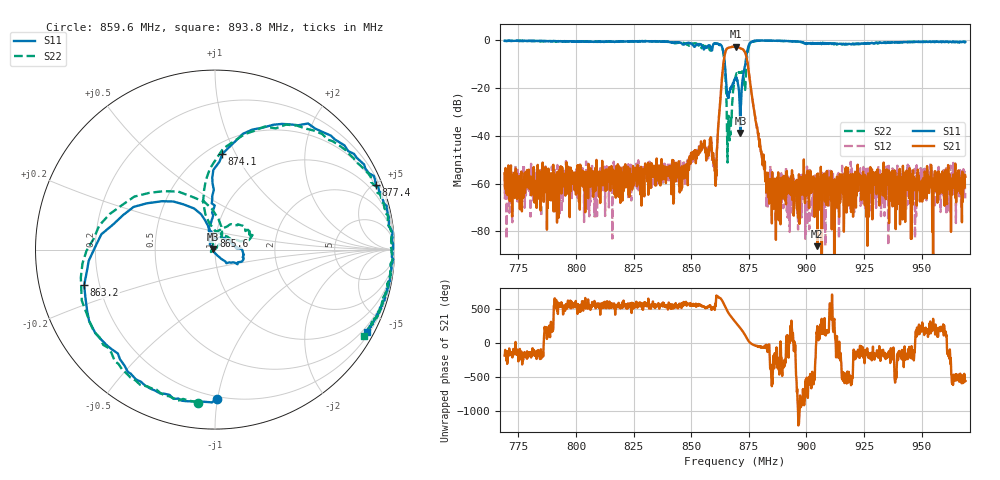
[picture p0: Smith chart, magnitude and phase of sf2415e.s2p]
!Agilent Technologies,E5071C,MY46104097,A.08.12
!Date: Fri Sep 23 10:31:15 2016
!Data & Calibration Information:
!Freq	S11:SOLT2(ON)	S21:SOLT2(ON)	S12:SOLT2(ON)	S22:SOLT2(ON)
# Hz S RI R 50
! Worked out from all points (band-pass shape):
!   1601 points, 769 MHz to 969 MHz, reference 50 ohm
!   highest |S21| = -2.60 dB at 869.5 MHz (marker M1); lowest = -86.1 dB at 904.8 MHz (marker M2)
!   |S21| within 3 dB of the highest: 864.6 MHz to 873.6 MHz (8.996 MHz wide, 1.04 % of centre)
!   lowest |S11| = -38.7 dB at 871.4 MHz (marker M3), VSWR 1.02, Z = 48.9 + j0.276 ohm
!   |S11| at or under -10 dB: 864.6 MHz to 873.4 MHz (8.843 MHz wide, 1.02 % of centre)
!   |S22| runs from -51.1 to -0.1 dB; largest |S21 - S12| = 0.0072
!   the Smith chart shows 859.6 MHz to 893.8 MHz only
!   S11 on the Smith chart (normalised r, x): 859.6 MHz: 0.18, -0.99; 863.2 MHz: 0.14, -0.13; 865.6 MHz: 0.97, +0.15; 874.1 MHz: 0.59, +0.88; 877.4 MHz: 0.49, +5.16; 893.8 MHz: 0.30, -3.91
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7.69e8  0.6899 -0.6878  -0.00164 -4.79e-06  -0.00172 0.000259  0.6623 -0.7064
8.02375e8  0.614 -0.7277  -0.0012 -0.000825  -0.00161 1.12e-05  0.5811 -0.7326
8.09e8  0.5936 -0.7287  -0.00117 -0.000562  -0.000621 -0.000472  0.5729 -0.7375
8.3575e8  0.4487 -0.8384  -0.00074 -0.000937  -0.00137 -0.000226  0.4109 -0.8478
8.4575e8  0.252 -0.8412  -0.00139 0.000598  -0.000934 -0.000163  0.253 -0.8545
8.55e8  -0.0102 -0.7401  -0.00669 -0.00026  -0.00535 0.00121  0.1038 -0.7777
8.59625e8  0.00938 -0.8319  -0.00348 0.000829  -0.00221 0.000688  -0.0921 -0.8547
8.61e8  -0.3043 -0.802  0.0017 -0.00166  0.00237 -0.00182  -0.3764 -0.7626
8.6325e8  -0.7291 -0.1985  0.019 -0.1433  0.0182 -0.1422  -0.7382 -0.0763
8.65625e8  -0.00894 0.0776  -0.2988 0.6105  -0.3006 0.6087  0.0059 0.00607
8.66625e8  0.0557 0.0642  0.325 0.6341  0.3195 0.6353  -0.00806 -0.000432
8.69e8  0.1546 -0.0115  0.5609 -0.4698  0.562 -0.4689  0.0781 0.137
8.695e8  0.1578 -0.0431  0.3593 -0.6481  0.3596 -0.6498  0.126 0.1408
8.71375e8  -0.0112 0.00282  -0.5243 -0.4368  -0.528 -0.4389  0.1922 0.0859
8.74125e8  0.0402 0.532  0.1076 0.3979  0.1032 0.3956  -0.051 0.3874
8.77375e8  0.8967 0.3581  0.0286 -0.0159  0.0281 -0.0152  0.8901 0.3571
8.8325e8  0.9744 -0.1651  0.00098 -0.00139  -0.000254 0.000215  0.9655 -0.1838
8.9375e8  0.8471 -0.4611  -0.00183 -0.000551  -0.000356 0.000253  0.8313 -0.4813
9.02375e8  0.7156 -0.4581  -0.00121 -0.000488  -0.00128 0.000383  0.691 -0.4792
9.0475e8  0.706 -0.4615  -1.4e-05 -4.73e-05  -0.000259 0.000108  0.7093 -0.4833
9.3575e8  0.736 -0.5306  -0.0019 -0.00012  -0.00237 -5.44e-05  0.719 -0.5501
9.69e8  0.6939 -0.6105  -0.00133 0.000409  -8.36e-05 -0.000487  0.6672 -0.6257
